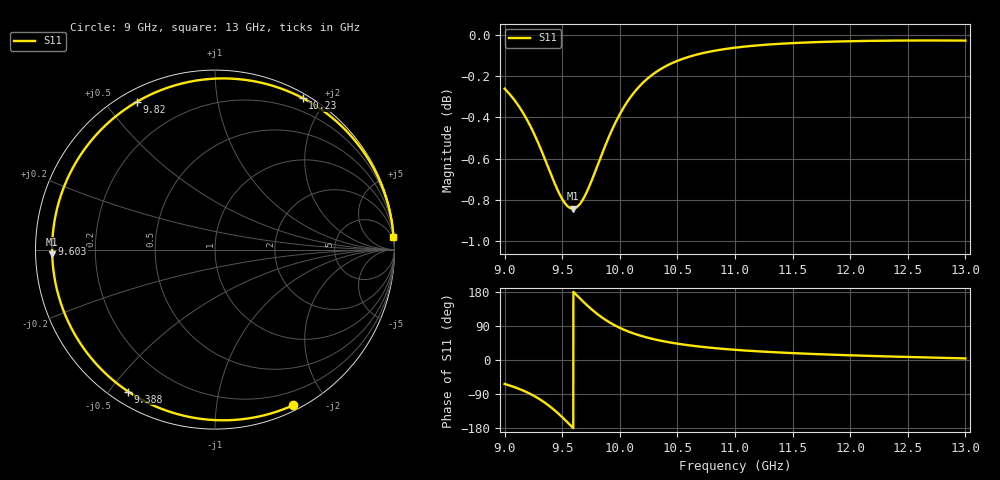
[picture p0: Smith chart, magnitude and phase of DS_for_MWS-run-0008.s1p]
! TOUCHSTONE file generated by CST DESIGN STUDIO
! Date and time: Wed Feb  5 13:42:25 2025
! Project name: C:\Work\MatlabApps\UnitCellOptimizationMatlab\CST\unitcell.cst
! Tree item: Tasks\Sweep1\SPara1\S-Parameters
! Header version: 2024
! Port assignment regex: !\s*Touchstone port\s*([0-9]+)\s*=\s*(CST MWS port|CST DES external port|CST DES block port)\s*(.+)\s* \(\"(.*)\"\)(\s*mode\s*([0-9]+))?.*
! Touchstone port assignment:
! Touchstone port 1 = CST DES external port 1 ("")
# GHz S MA R 50
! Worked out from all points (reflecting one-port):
!   4001 points, 9 GHz to 13 GHz, reference 50 ohm
!   lowest |S11| = -0.8 dB at 9.591 GHz (marker M1), VSWR 20.61, Z = 2.43 - j0.715 ohm
!   phase of S11 starts at -63 deg and turns -293 deg over the sweep
!   S11 on the Smith chart (normalised r, x): 9 GHz: 0.05, -1.62; 9.388 GHz: 0.05, -0.56; 9.603 GHz: 0.05, +0.02; 9.82 GHz: 0.05, +0.60; 10.23 GHz: 0.05, +1.73; 13 GHz: 1, +27
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9  0.9704 -63.2
9.048  0.9672 -67.7
9.117  0.9615 -75.2
9.236  0.9488 -91.6
9.317  0.9378 -106.0
9.388  0.9271 -121.4
9.444  0.919 -135.4
9.5  0.9123 -150.9
9.547  0.9086 -164.9
9.591  0.9075 -178.4
9.603  0.9075 177.9
9.659  0.9102 160.8
9.72  0.9168 143.1
9.77  0.9239 129.8
9.82  0.9317 117.8
9.86  0.9379 109.1
9.902  0.9442 100.8
10  0.9567 84.8
10.109  0.9672 71.2
10.228  0.9753 59.9
10.354  0.9811 51.0
10.5  0.9857 43.1
10.72  0.9899 34.5
11  0.993 26.9
11.5  0.9955 18.1
12  0.9966 12.4
12.5  0.997 8.0
13  0.9969 4.2
